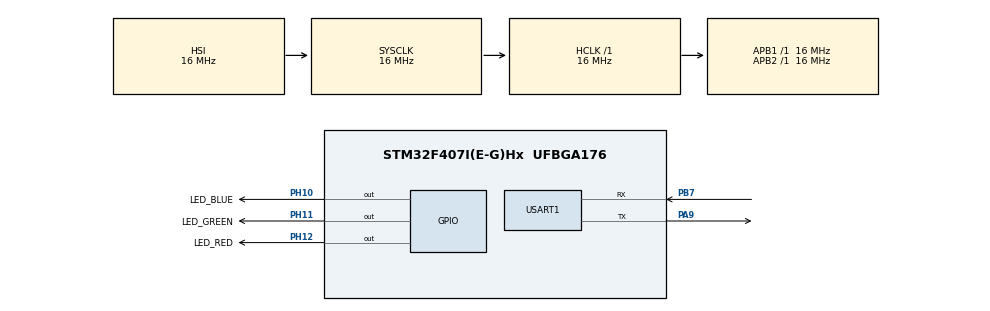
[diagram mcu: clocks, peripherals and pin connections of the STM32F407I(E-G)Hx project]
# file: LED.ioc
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Dma.Request0=USART1_RX
Dma.Request1=USART1_TX
Dma.USART1_RX.0.Direction=DMA_PERIPH_TO_MEMORY
Dma.USART1_RX.0.FIFOMode=DMA_FIFOMODE_DISABLE
Dma.USART1_RX.0.Instance=DMA2_Stream2
Dma.USART1_RX.0.MemDataAlignment=DMA_MDATAALIGN_BYTE
Dma.USART1_RX.0.MemInc=DMA_MINC_ENABLE
Dma.USART1_RX.0.Mode=DMA_NORMAL
Dma.USART1_RX.0.PeriphDataAlignment=DMA_PDATAALIGN_BYTE
Dma.USART1_RX.0.PeriphInc=DMA_PINC_DISABLE
Dma.USART1_RX.0.Priority=DMA_PRIORITY_LOW
Dma.USART1_TX.1.Direction=DMA_MEMORY_TO_PERIPH
Dma.USART1_TX.1.FIFOMode=DMA_FIFOMODE_DISABLE
Dma.USART1_TX.1.Instance=DMA2_Stream7
Dma.USART1_TX.1.MemDataAlignment=DMA_MDATAALIGN_BYTE
Dma.USART1_TX.1.MemInc=DMA_MINC_ENABLE
Dma.USART1_TX.1.Mode=DMA_NORMAL
Dma.USART1_TX.1.PeriphDataAlignment=DMA_PDATAALIGN_BYTE
Dma.USART1_TX.1.PeriphInc=DMA_PINC_DISABLE
Dma.USART1_TX.1.Priority=DMA_PRIORITY_LOW
Mcu.Family=STM32F4
Mcu.Name=STM32F407I(E-G)Hx
Mcu.Package=UFBGA176
NVIC.DMA2_Stream2_IRQn=true\:0\:0\:false\:false\:true\:false\:true\:true
NVIC.DMA2_Stream7_IRQn=true\:0\:0\:false\:false\:true\:false\:true\:true
NVIC.PriorityGroup=NVIC_PRIORITYGROUP_4
NVIC.USART1_IRQn=true\:0\:0\:false\:false\:true\:true\:true\:true
PA13.Mode=Serial_Wire
PA13.Signal=SYS_JTMS-SWDIO
PA14.Mode=Serial_Wire
PA14.Signal=SYS_JTCK-SWCLK
PA9.Mode=Asynchronous
PA9.Signal=USART1_TX
PB7.Mode=Asynchronous
PB7.Signal=USART1_RX
PH10.GPIO_Label=LED_BLUE
PH10.Signal=GPIO_Output
PH11.GPIO_Label=LED_GREEN
PH11.Signal=GPIO_Output
PH12.GPIO_Label=LED_RED
PH12.Signal=GPIO_Output
ProjectManager.HeapSize=0x200
ProjectManager.StackSize=0x400
ProjectManager.TargetToolchain=STM32CubeIDE
RCC.AHBFreq_Value=16000000
RCC.APB1Freq_Value=16000000
RCC.APB2Freq_Value=16000000
RCC.CortexFreq_Value=16000000
RCC.HSE_VALUE=25000000
RCC.HSI_VALUE=16000000
RCC.LSE_VALUE=32768
RCC.SYSCLKFreq_VALUE=16000000
RCC.VCOOutputFreq_Value=192000000
USART1.VirtualMode=VM_ASYNC
board=custom

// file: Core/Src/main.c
/* USER CODE BEGIN Header */
/**
 ******************************************************************************
 * @file           : main.c
 * @brief          : Main program body
 ******************************************************************************
 * @attention
 *
 * Copyright (c) 2025 STMicroelectronics.
 * All rights reserved.
 *
 * This software is licensed under terms that can be found in the LICENSE file
 * in the root directory of this software component.
 * If no LICENSE file comes with this software, it is provided AS-IS.
 *
 ******************************************************************************
 */
/* USER CODE END Header */
#include "main.h"

UART_HandleTypeDef huart1;
DMA_HandleTypeDef hdma_usart1_rx;
DMA_HandleTypeDef hdma_usart1_tx;

/* USER CODE BEGIN PV */
uint8_t receiveData[50];
/* USER CODE END PV */

void SystemClock_Config(void);
static void MX_GPIO_Init(void);
static void MX_DMA_Init(void);
static void MX_USART1_UART_Init(void);

/* USER CODE BEGIN 0 */
// void HAL_UARTEx_RxEventCallback(UART_HandleTypeDef *huart, uint16_t Size) {
//       HAL_UART_Transmit_DMA(&huart1, receiveData, 2);
//         GPIO_PinState state = GPIO_PIN_SET;
//         if (receiveData[1] == '0') {
//             state = GPIO_PIN_RESET;
//         }

//         if (receiveData[0] == 'R') {
//             HAL_GPIO_WritePin(LED_RED_GPIO_Port, LED_RED_Pin, state);
//         } else if (receiveData[0] == 'G') {
//             HAL_GPIO_WritePin(LED_GREEN_GPIO_Port, LED_GREEN_Pin, state);
//         } else if (receiveData[0] == 'B') {
//             HAL_GPIO_WritePin(LED_BLUE_GPIO_Port, LED_BLUE_Pin, state);
//         }
//         HAL_UART_Receive_DMA(&huart1, receiveData, 2);
// }

void HAL_UARTEx_RxEventCallback(UART_HandleTypeDef *huart, uint16_t Size){
    if (huart == &huart1){
        HAL_UART_Transmit_DMA(&huart1, receiveData, Size);

        if (receiveData[0] == 0xAA){
            if (receiveData[1] == Size){
                uint8_t sum = 0;
                for (int i = 0; i < Size - 1; i++){
                    sum += receiveData[i];
                }

                if (sum == receiveData[Size - 1]){
                    for (int i = 2; i < Size - 1; i += 2){
                        GPIO_PinState state = GPIO_PIN_SET;
                        if (receiveData[i + 1] == 0x00){
                            state = GPIO_PIN_RESET;
                        }
                        if (receiveData[i] == 0x01){
                            HAL_GPIO_WritePin(LED_RED_GPIO_Port, LED_RED_Pin, state);
                        }else if (receiveData[i] == 0x02){
                            HAL_GPIO_WritePin(LED_GREEN_GPIO_Port, LED_GREEN_Pin, state);
                        }else if (receiveData[i] == 0x03){
                            HAL_GPIO_WritePin(LED_BLUE_GPIO_Port, LED_BLUE_Pin, state);
                        }
                    }
                }
            }
        }

        HAL_UARTEx_ReceiveToIdle_DMA(&huart1, receiveData, sizeof(receiveData));
        __HAL_DMA_DISABLE_IT(&hdma_usart1_rx, DMA_IT_HT);
    }
}
/* USER CODE END 0 */

int main(void)
{

  /* MCU Configuration--------------------------------------------------------*/

  /* Reset of all peripherals, Initializes the Flash interface and the Systick. */
  HAL_Init();

  /* Configure the system clock */
  SystemClock_Config();

  /* Initialize all configured peripherals */
  MX_GPIO_Init();
  MX_DMA_Init();
  MX_USART1_UART_Init();
  /* USER CODE BEGIN 2 */
  HAL_UARTEx_ReceiveToIdle_DMA(&huart1, receiveData, 50);
  __HAL_DMA_DISABLE_IT(&hdma_usart1_rx, DMA_IT_HT);
  /* USER CODE END 2 */

  /* Infinite loop */
    while (1) {

    }
}

void SystemClock_Config(void)
{
  RCC_OscInitTypeDef RCC_OscInitStruct = {0};
  RCC_ClkInitTypeDef RCC_ClkInitStruct = {0};

  /** Configure the main internal regulator output voltage
  */
  __HAL_RCC_PWR_CLK_ENABLE();
  __HAL_PWR_VOLTAGESCALING_CONFIG(PWR_REGULATOR_VOLTAGE_SCALE1);

  /** Initializes the RCC Oscillators according to the specified parameters
  * in the RCC_OscInitTypeDef structure.
  */
  RCC_OscInitStruct.OscillatorType = RCC_OSCILLATORTYPE_HSI;
  RCC_OscInitStruct.HSIState = RCC_HSI_ON;
  RCC_OscInitStruct.HSICalibrationValue = RCC_HSICALIBRATION_DEFAULT;
  RCC_OscInitStruct.PLL.PLLState = RCC_PLL_NONE;
  if (HAL_RCC_OscConfig(&RCC_OscInitStruct) != HAL_OK)
  {
    Error_Handler();
  }

  /** Initializes the CPU, AHB and APB buses clocks
  */
  RCC_ClkInitStruct.ClockType = RCC_CLOCKTYPE_HCLK|RCC_CLOCKTYPE_SYSCLK
                              |RCC_CLOCKTYPE_PCLK1|RCC_CLOCKTYPE_PCLK2;
  RCC_ClkInitStruct.SYSCLKSource = RCC_SYSCLKSOURCE_HSI;
  RCC_ClkInitStruct.AHBCLKDivider = RCC_SYSCLK_DIV1;
  RCC_ClkInitStruct.APB1CLKDivider = RCC_HCLK_DIV1;
  RCC_ClkInitStruct.APB2CLKDivider = RCC_HCLK_DIV1;

  if (HAL_RCC_ClockConfig(&RCC_ClkInitStruct, FLASH_LATENCY_0) != HAL_OK)
  {
    Error_Handler();
  }
}

static void MX_USART1_UART_Init(void)
{

  huart1.Instance = USART1;
  huart1.Init.BaudRate = 115200;
  huart1.Init.WordLength = UART_WORDLENGTH_8B;
  huart1.Init.StopBits = UART_STOPBITS_1;
  huart1.Init.Parity = UART_PARITY_NONE;
  huart1.Init.Mode = UART_MODE_TX_RX;
  huart1.Init.HwFlowCtl = UART_HWCONTROL_NONE;
  huart1.Init.OverSampling = UART_OVERSAMPLING_16;
  if (HAL_UART_Init(&huart1) != HAL_OK)
  {
    Error_Handler();
  }

}

static void MX_DMA_Init(void)
{

  /* DMA controller clock enable */
  __HAL_RCC_DMA2_CLK_ENABLE();

  /* DMA interrupt init */
  /* DMA2_Stream2_IRQn interrupt configuration */
  HAL_NVIC_SetPriority(DMA2_Stream2_IRQn, 0, 0);
  HAL_NVIC_EnableIRQ(DMA2_Stream2_IRQn);
  /* DMA2_Stream7_IRQn interrupt configuration */
  HAL_NVIC_SetPriority(DMA2_Stream7_IRQn, 0, 0);
  HAL_NVIC_EnableIRQ(DMA2_Stream7_IRQn);

}

static void MX_GPIO_Init(void)
{
  GPIO_InitTypeDef GPIO_InitStruct = {0};

  /* GPIO Ports Clock Enable */
  __HAL_RCC_GPIOA_CLK_ENABLE();
  __HAL_RCC_GPIOB_CLK_ENABLE();
  __HAL_RCC_GPIOH_CLK_ENABLE();

  /*Configure GPIO pin Output Level */
  HAL_GPIO_WritePin(GPIOH, LED_RED_Pin|LED_GREEN_Pin|LED_BLUE_Pin, GPIO_PIN_RESET);

  /*Configure GPIO pins : LED_RED_Pin LED_GREEN_Pin LED_BLUE_Pin */
  GPIO_InitStruct.Pin = LED_RED_Pin|LED_GREEN_Pin|LED_BLUE_Pin;
  GPIO_InitStruct.Mode = GPIO_MODE_OUTPUT_PP;
  GPIO_InitStruct.Pull = GPIO_NOPULL;
  GPIO_InitStruct.Speed = GPIO_SPEED_FREQ_LOW;
  HAL_GPIO_Init(GPIOH, &GPIO_InitStruct);

}

void Error_Handler(void)
{
    __disable_irq();
    while (1) {
    }
}
